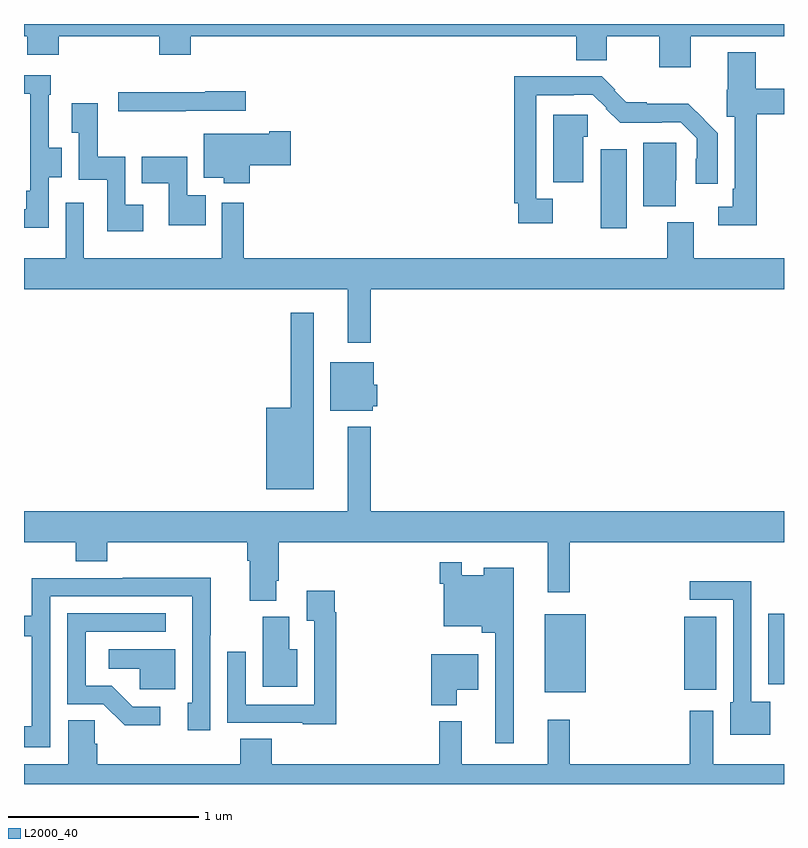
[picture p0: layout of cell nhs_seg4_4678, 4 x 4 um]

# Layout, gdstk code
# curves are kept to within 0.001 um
import gdstk
lib = gdstk.Library(unit=1e-6, precision=1e-09)
def R(c, l, rs):  # rectangles x0, y0, x1, y1
    for r in rs: c.add(gdstk.rectangle(r[:2], r[2:], *l))
def P(c, l, *ps):  # polygons
    for p in ps: c.add(gdstk.Polygon(p, *l))
L2000_40 = (2000, 40)

nhs_seg4_4678 = lib.new_cell('nhs_seg4_4678')
R(nhs_seg4_4678, L2000_40, [(365.741,777.383,365.956,777.793), (366.476,777.395,366.643,777.781), (366.917,777.426,367,777.796), (366.035,779.826,366.172,780.241)])
P(nhs_seg4_4678, L2000_40, [(366.508,780.836),(367,780.836),(367,780.9),(363,780.9),(363,780.836),(363.017,780.836),(363.017,780.737),(363.182,780.737),(363.182,780.836),(363.713,780.836),(363.713,780.737),(363.878,780.737),(363.878,780.836),(365.906,780.836),(365.906,780.71),(366.067,780.71),(366.067,780.836),(366.344,780.836),(366.344,780.672),(366.508,780.672)],
  [(366.857,780.425),(367,780.425),(367,780.559),(366.851,780.559),(366.851,780.751),(366.704,780.751),(366.704,780.555),(366.699,780.555),(366.699,780.413),(366.741,780.413),(366.741,780.034),(366.729,780.034),(366.729,779.937),(366.654,779.937),(366.654,779.84),(366.857,779.84)],
  [(363.129,780.094),(363.199,780.094),(363.199,780.249),(363.129,780.249),(363.129,780.527),(363.142,780.527),(363.142,780.63),(363,780.63),(363,780.534),(363.032,780.534),(363.032,780.337),(363.033,780.337),(363.033,780.022),(363.013,780.022),(363.013,779.926),(363,779.926),(363,779.828),(363.129,779.828)],
  [(365.782,779.98),(365.697,779.98),(365.697,780.524),(365.894,780.524),(365.894,780.528),(365.994,780.528),(366.066,780.456),(366.063,780.453),(366.137,780.38),(366.356,780.38),(366.356,780.384),(366.456,780.384),(366.54,780.3),(366.54,780.192),(366.536,780.192),(366.536,780.06),(366.652,780.06),(366.652,780.324),(366.497,780.481),(366.277,780.481),(366.277,780.489),(366.169,780.489),(366.107,780.551),(366.111,780.555),(366.041,780.625),(365.581,780.625),(365.581,779.956),(365.601,779.956),(365.601,779.852),(365.782,779.852)],
  [(363.851,780.444),(364.168,780.444),(364.168,780.545),(363.955,780.545),(363.955,780.542),(363.495,780.542),(363.495,780.442),(363.851,780.442)],
  [(363.628,779.95),(363.534,779.95),(363.534,780.202),(363.387,780.202),(363.387,780.484),(363.251,780.484),(363.251,780.328),(363.288,780.328),(363.288,780.08),(363.438,780.08),(363.438,779.81),(363.628,779.81)],
  [(365.944,780.306),(365.967,780.306),(365.967,780.423),(365.786,780.423),(365.786,780.068),(365.944,780.068)],
  [(364.187,780.157),(364.405,780.157),(364.405,780.335),(364.292,780.335),(364.292,780.322),(363.947,780.322),(363.947,780.092),(364.052,780.092),(364.052,780.062),(364.187,780.062)],
  [(366.43,780.078),(366.433,780.078),(366.433,780.276),(366.26,780.276),(366.26,779.942),(366.43,779.942)],
  [(363.956,779.998),(363.858,779.998),(363.858,780.202),(363.619,780.202),(363.619,780.062),(363.761,780.062),(363.761,779.84),(363.956,779.84)],
  [(364.825,779.504),(367,779.504),(367,779.668),(366.526,779.668),(366.526,779.857),(366.386,779.857),(366.386,779.668),(364.157,779.668),(364.157,779.959),(364.041,779.959),(364.041,779.668),(363.315,779.668),(363.315,779.959),(363.219,779.959),(363.219,779.668),(363,779.668),(363,779.504),(364.703,779.504),(364.703,779.223),(364.825,779.223)],
  [(364.525,779.38),(364.404,779.38),(364.404,778.879),(364.274,778.879),(364.274,778.451),(364.525,778.451)],
  [(364.836,778.887),(364.858,778.887),(364.858,779.001),(364.84,779.001),(364.84,779.119),(364.613,779.119),(364.613,778.865),(364.836,778.865)],
  [(364.327,777.97),(364.34,777.97),(364.34,778.172),(365.756,778.172),(365.756,777.909),(365.873,777.909),(365.873,778.172),(367,778.172),(367,778.336),(364.825,778.336),(364.825,778.78),(364.703,778.78),(364.703,778.336),(363,778.336),(363,778.172),(363.272,778.172),(363.272,778.073),(363.437,778.073),(363.437,778.172),(364.175,778.172),(364.175,778.076),(364.187,778.076),(364.187,777.865),(364.327,777.865)],
  [(365.578,778.039),(365.42,778.039),(365.42,778),(365.304,778),(365.304,778.066),(365.188,778.066),(365.188,777.953),(365.208,777.953),(365.208,777.731),(365.408,777.731),(365.408,777.695),(365.481,777.695),(365.481,777.114),(365.578,777.114)],
  [(363.138,777.888),(363.885,777.888),(363.885,777.327),(363.863,777.327),(363.863,777.183),(363.981,777.183),(363.981,777.682),(363.983,777.682),(363.983,777.986),(363.52,777.986),(363.52,777.984),(363.042,777.984),(363.042,777.786),(363,777.786),(363,777.678),(363.041,777.678),(363.041,777.204),(363,777.204),(363,777.093),(363.138,777.093)],
  [(366.928,777.334),(366.828,777.334),(366.828,777.968),(366.504,777.968),(366.504,777.87),(366.732,777.87),(366.732,777.33),(366.716,777.33),(366.716,777.158),(366.928,777.158)],
  [(364.643,777.803),(364.636,777.803),(364.636,777.916),(364.487,777.916),(364.487,777.76),(364.527,777.76),(364.527,777.318),(364.167,777.318),(364.167,777.595),(364.071,777.595),(364.071,777.222),(364.467,777.222),(364.467,777.215),(364.643,777.215)],
  [(363.718,777.306),(363.573,777.306),(363.462,777.417),(363.324,777.417),(363.324,777.702),(363.745,777.702),(363.745,777.798),(363.228,777.798),(363.228,777.321),(363.417,777.321),(363.53,777.209),(363.718,777.209)],
  [(364.438,777.61),(364.396,777.61),(364.396,777.78),(364.256,777.78),(364.256,777.413),(364.438,777.413)],
  [(363.796,777.61),(363.447,777.61),(363.447,777.506),(363.609,777.506),(363.609,777.399),(363.796,777.399)],
  [(365.278,777.395),(365.392,777.395),(365.392,777.583),(365.144,777.583),(365.144,777.314),(365.278,777.314)],
  [(367,777.004),(366.628,777.004),(366.628,777.286),(366.503,777.286),(366.503,777.004),(365.873,777.004),(365.873,777.238),(365.756,777.238),(365.756,777.004),(365.303,777.004),(365.303,777.229),(365.185,777.229),(365.185,777.004),(364.304,777.004),(364.304,777.137),(364.139,777.137),(364.139,777.004),(363.386,777.004),(363.386,777.113),(363.372,777.113),(363.372,777.236),(363.233,777.236),(363.233,777.004),(363,777.004),(363,776.9),(367,776.9)])

lib.write_gds('nhs_seg4_4678.gds')
